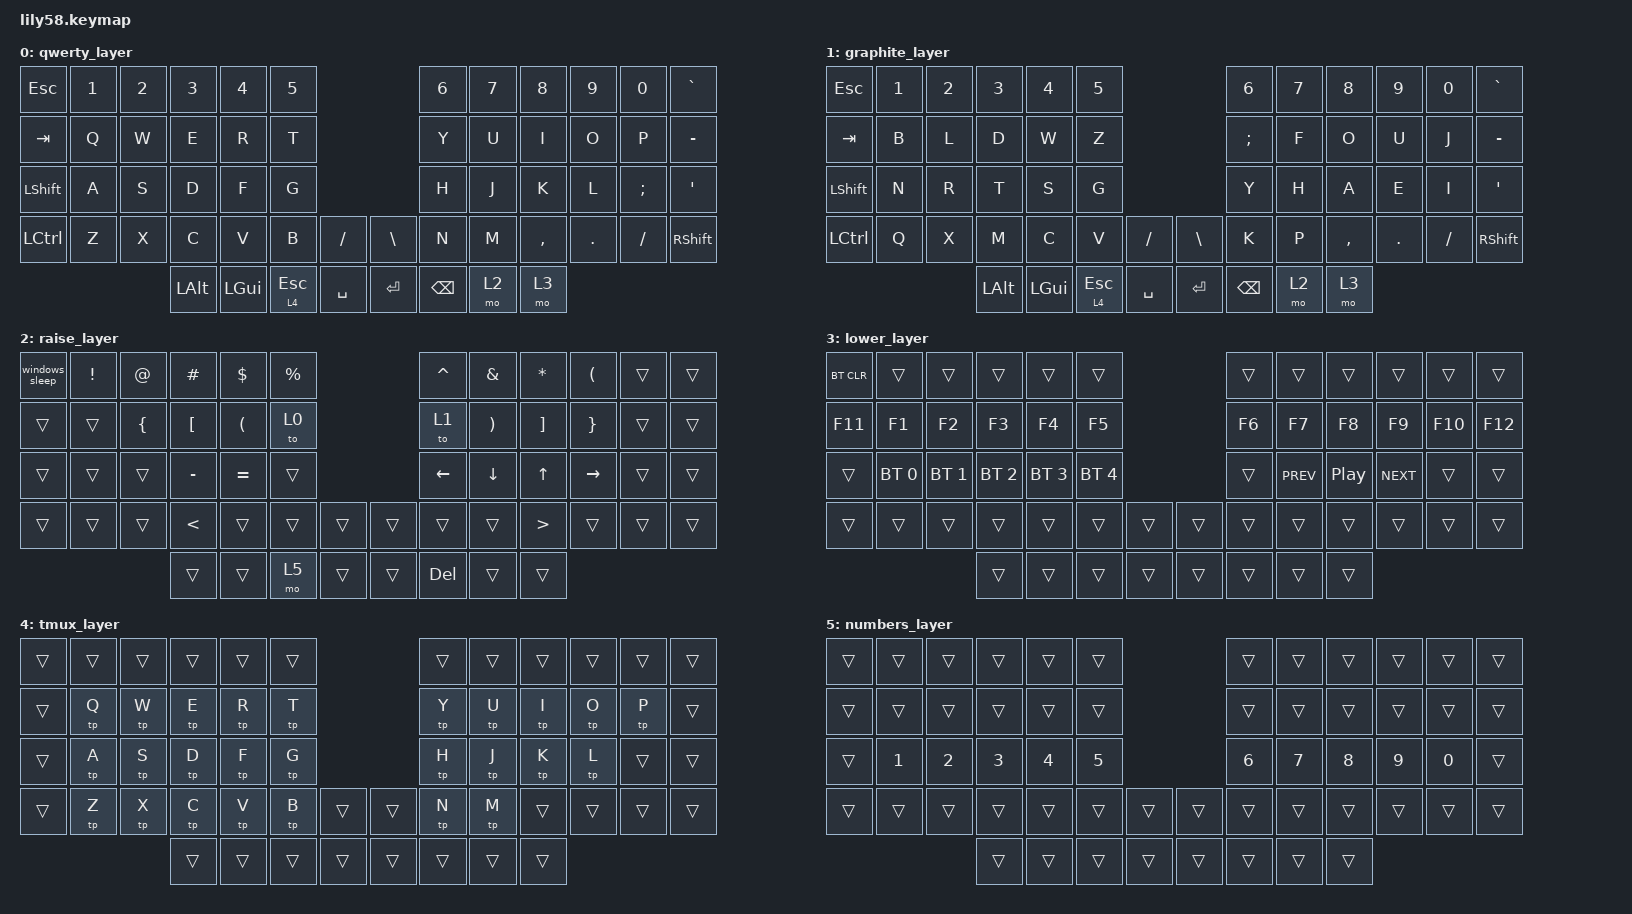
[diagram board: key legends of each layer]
/*
 * Copyright (c) 2020 The ZMK Contributors
 *
 * SPDX-License-Identifier: MIT
 */

#include <behaviors.dtsi>
#include <dt-bindings/zmk/bt.h>
#include <dt-bindings/zmk/keys.h>

/ {
    behaviors {
        tp: tmux_prefix {
            compatible = "zmk,behavior-macro-one-param";
            #binding-cells = <1>;
            bindings =
                <&macro_tap>,
                <&kp LC(B) &macro_param_1to1>,
                <&macro_tap>,
                <&kp MACRO_PLACEHOLDER>;
        };

        windows_sleep: windows_sleep {
            compatible = "zmk,behavior-macro";
            #binding-cells = <0>;
            bindings = <&kp LG(X) &kp U &kp S>;
            label = "WINDOWS_SLEEP";
            wait-ms = <250>;
            tap-ms = <5>;
        };
    };

    macros {
    };

    keymap {
        compatible = "zmk,keymap";

        qwerty_layer {
            bindings = <
&kp ESC    &kp N1  &kp N2  &kp N3    &kp N4    &kp N5                             &kp N6    &kp N7  &kp N8     &kp N9   &kp N0    &kp GRAVE
&kp TAB    &kp Q   &kp W   &kp E     &kp R     &kp T                              &kp Y     &kp U   &kp I      &kp O    &kp P     &kp MINUS
&kp LSHFT  &kp A   &kp S   &kp D     &kp F     &kp G                              &kp H     &kp J   &kp K      &kp L    &kp SEMI  &kp SQT
&kp LCTRL  &kp Z   &kp X   &kp C     &kp V     &kp B      &kp FSLH     &kp BSLH   &kp N     &kp M   &kp COMMA  &kp DOT  &kp FSLH  &kp RSHFT
                           &kp LALT  &kp LGUI  &lt 4 ESC  &kp SPACE    &kp ENTER  &kp BSPC  &mo 2   &mo 3
            >;
        };

        graphite_layer {
            bindings = <
&kp ESC    &kp N1  &kp N2  &kp N3    &kp N4    &kp N5                             &kp N6    &kp N7  &kp N8     &kp N9   &kp N0    &kp GRAVE
&kp TAB    &kp B   &kp L   &kp D     &kp W     &kp Z                              &kp SEMI  &kp F   &kp O      &kp U    &kp J     &kp MINUS
&kp LSHFT  &kp N   &kp R   &kp T     &kp S     &kp G                              &kp Y     &kp H   &kp A      &kp E    &kp I     &kp SQT
&kp LCTRL  &kp Q   &kp X   &kp M     &kp C     &kp V      &kp FSLH     &kp BSLH   &kp K     &kp P   &kp COMMA  &kp DOT  &kp FSLH  &kp RSHFT
                           &kp LALT  &kp LGUI  &lt 4 ESC  &kp SPACE    &kp ENTER  &kp BSPC  &mo 2   &mo 3
            >;
        };

        raise_layer {
            bindings = <
&windows_sleep  &kp EXCL  &kp AT    &kp HASH   &kp DLLR   &kp PRCNT                    &kp CARET  &kp AMPS  &kp ASTRK  &kp LPAR   &trans  &trans
&trans          &trans    &kp LBRC  &kp LBKT   &kp LPAR   &to 0                        &to 1      &kp RPAR  &kp RBKT   &kp RBRC   &trans  &trans
&trans          &trans    &trans    &kp MINUS  &kp EQUAL  &trans                       &kp LEFT   &kp DOWN  &kp UP     &kp RIGHT  &trans  &trans
&trans          &trans    &trans    &kp LT     &trans     &trans     &trans    &trans  &trans     &trans    &kp GT     &trans     &trans  &trans
                                    &trans     &trans     &mo 5      &trans    &trans  &kp DEL    &trans    &trans
            >;
        };

        lower_layer {
            bindings = <
&bt BT_CLR  &trans        &trans        &trans        &trans        &trans                          &trans  &trans      &trans    &trans      &trans   &trans
&kp F11     &kp F1        &kp F2        &kp F3        &kp F4        &kp F5                          &kp F6  &kp F7      &kp F8    &kp F9      &kp F10  &kp F12
&trans      &bt BT_SEL 0  &bt BT_SEL 1  &bt BT_SEL 2  &bt BT_SEL 3  &bt BT_SEL 4                    &trans  &kp C_PREV  &kp C_PP  &kp C_NEXT  &trans   &trans
&trans      &trans        &trans        &trans        &trans        &trans        &trans    &trans  &trans  &trans      &trans    &trans      &trans   &trans
                                        &trans        &trans        &trans        &trans    &trans  &trans  &trans      &trans
            >;
        };

        tmux_layer {
            bindings = <
&trans  &trans  &trans  &trans  &trans  &trans                    &trans  &trans  &trans  &trans  &trans  &trans
&trans  &tp Q   &tp W   &tp E   &tp R   &tp T                     &tp Y   &tp U   &tp I   &tp O   &tp P   &trans
&trans  &tp A   &tp S   &tp D   &tp F   &tp G                     &tp H   &tp J   &tp K   &tp L   &trans  &trans
&trans  &tp Z   &tp X   &tp C   &tp V   &tp B   &trans    &trans  &tp N   &tp M   &trans  &trans  &trans  &trans
                        &trans  &trans  &trans  &trans    &trans  &trans  &trans  &trans
            >;
        };

        numbers_layer {
            bindings = <
&trans  &trans  &trans  &trans  &trans  &trans                    &trans  &trans  &trans  &trans  &trans  &trans
&trans  &trans  &trans  &trans  &trans  &trans                    &trans  &trans  &trans  &trans  &trans  &trans
&trans  &kp N1  &kp N2  &kp N3  &kp N4  &kp N5                    &kp N6  &kp N7  &kp N8  &kp N9  &kp N0  &trans
&trans  &trans  &trans  &trans  &trans  &trans  &trans    &trans  &trans  &trans  &trans  &trans  &trans  &trans
                        &trans  &trans  &trans  &trans    &trans  &trans  &trans  &trans
            >;
        };
    };
};
